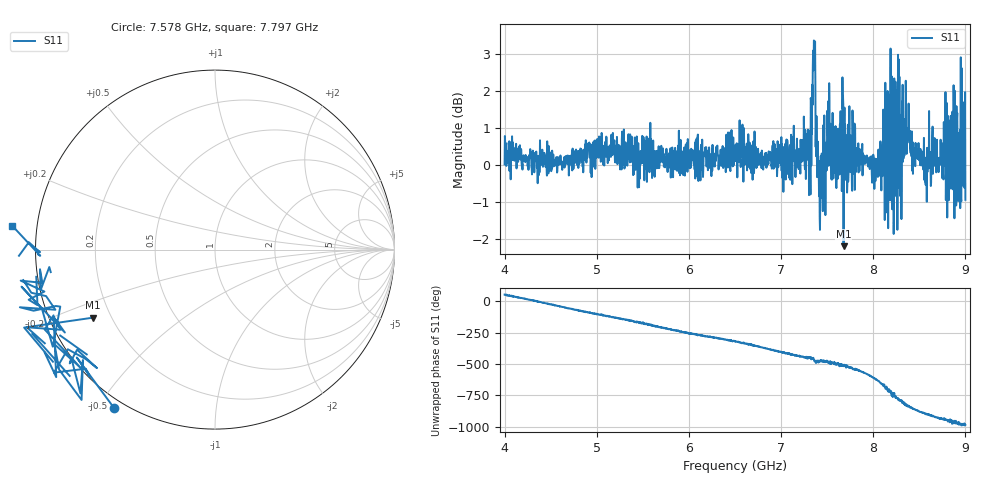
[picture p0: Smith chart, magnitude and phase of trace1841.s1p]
! Created with skrf 1.8.0 (http://scikit-rf.org).
# Hz S RI R 50.0
!freq ReS11 ImS11
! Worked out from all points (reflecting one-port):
!   1601 points, 4 GHz to 9 GHz, reference 50 ohm
!   lowest |S11| = -2.2 dB at 7.678 GHz (marker M1), VSWR 8.01, Z = 6.66 - j12.8 ohm
!   phase of S11 starts at 52 deg and turns -1037 deg over the sweep
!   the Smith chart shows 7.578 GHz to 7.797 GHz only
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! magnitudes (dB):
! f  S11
! 4 GHz  0.0
! 4.625 GHz  -0.1
! 5.25 GHz  0.3
! 5.875 GHz  0.4
! 6.5 GHz  0.3
! 7.125 GHz  0.8
! 7.294 GHz  0.8
! 7.319 GHz  -0.8
! 7.347 GHz  3.1
! 7.369 GHz  3.3
! 7.4 GHz  0.6
! 7.428 GHz  -0.1
! 7.512 GHz  1.7
! 7.591 GHz  1.1
! 7.65 GHz  0.6
! 7.678 GHz  -2.2
! 7.75 GHz  0.6
! 8.034 GHz  -0.2
! 8.178 GHz  1.8
! 8.225 GHz  0.5
! 8.262 GHz  -1.7
! 8.312 GHz  1.7
! 8.334 GHz  0.7
! 8.375 GHz  1.0
! 8.431 GHz  -0.2
! 8.556 GHz  -0.4
! 8.972 GHz  0.7
! 9 GHz  -0.9
